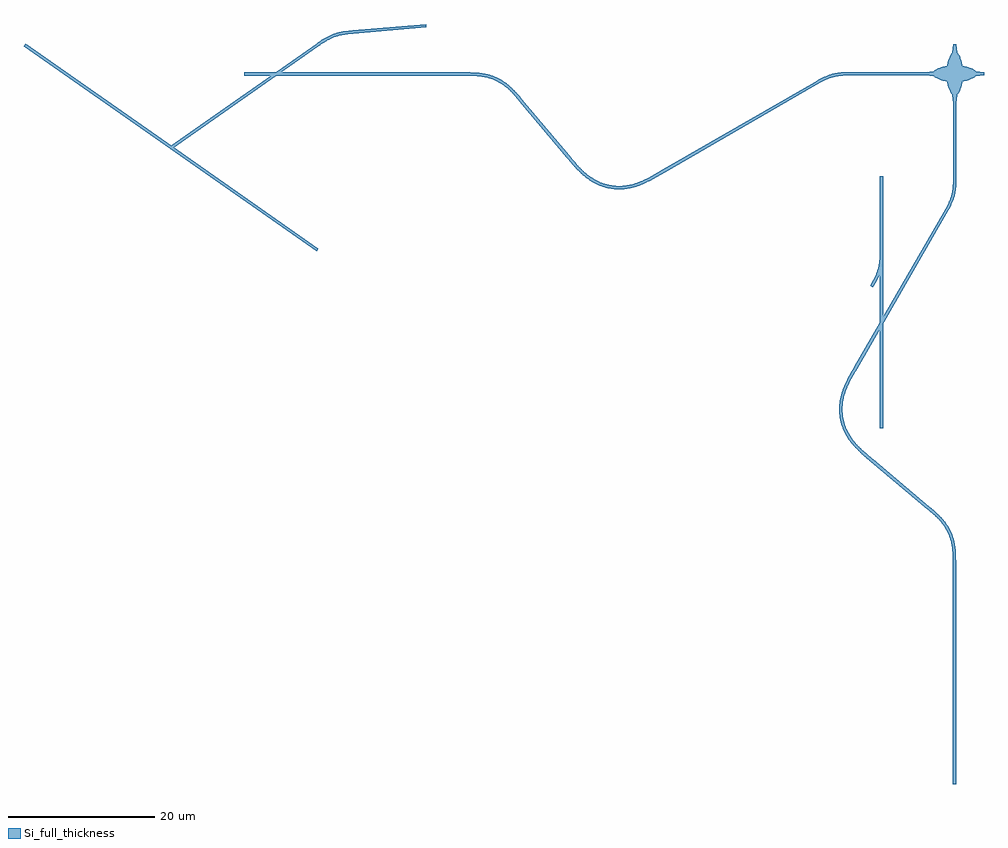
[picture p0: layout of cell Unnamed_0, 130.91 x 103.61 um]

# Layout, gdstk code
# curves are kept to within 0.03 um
from math import pi, radians
import gdstk
lib = gdstk.Library(unit=1e-6, precision=1e-09)
def R(c, l, rs):  # rectangles x0, y0, x1, y1
    for r in rs: c.add(gdstk.rectangle(r[:2], r[2:], *l))
def P(c, l, *ps):  # polygons
    for p in ps: c.add(gdstk.Polygon(p, *l))
Si_full_thickness = (1, 0)

straight_gdsfactorypcomp = lib.new_cell('straight_gdsfactorypcomponentspwaveguidespstraight_L30__da6968e1')
R(straight_gdsfactorypcomp, Si_full_thickness, [(0,-0.22,30,0.22)])

bend_euler_gdsfactorypco = lib.new_cell('bend_euler_gdsfactorypcomponentspbendspbend_euler_RNone_7c117f1f')
P(bend_euler_gdsfactorypco, Si_full_thickness, [(7.492,-3.714),(6.619,-2.704),(5.872,-1.962),(5.239,-1.46),(4.506,-1.015),(3.585,-0.622),(2.512,-0.355),(1.599,-0.254),(0,-0.22),(0,0.22),(1.627,0.185),(2.72,0.055),(3.727,-0.205),(4.709,-0.625),(5.238,-0.93),(5.847,-1.366),(6.466,-1.915),(7.035,-2.507),(7.829,-3.431)])

c_straight_gdsfactorypcomp = lib.new_cell('straight_gdsfactorypcomponentspwaveguidespstraight_L10__8a61a252')
R(c_straight_gdsfactorypcomp, Si_full_thickness, [(0,-0.22,10,0.22)])

c_bend_euler_gdsfactorypco = lib.new_cell('bend_euler_gdsfactorypcomponentspbendspbend_euler_RNone_93cb2d7f')
P(c_bend_euler_gdsfactorypco, Si_full_thickness, [(0,-0.22),(0,0.22),(1.48,0.236),(2.545,0.302),(3.593,0.454),(4.484,0.683),(5.119,0.922),(5.739,1.231),(6.763,1.94),(7.639,2.826),(8.051,3.383),(8.397,3.966),(8.777,4.804),(9.109,5.81),(9.359,6.847),(9.631,8.302),(10.065,8.225),(9.569,5.824),(9.284,4.904),(8.971,4.134),(8.576,3.389),(8.162,2.778),(7.688,2.213),(7.046,1.603),(6.334,1.077),(5.695,0.708),(5.021,0.407),(4.219,0.147),(3.271,-0.05),(2.314,-0.16)])

c_straight_gdsfactorypcomp_ = lib.new_cell('straight_gdsfactorypcomponentspwaveguidespstraight_L24p_38fe64c6')
R(c_straight_gdsfactorypcomp_, Si_full_thickness, [(0,-0.22,24.35,0.22)])

c_bend_euler_gdsfactorypco_ = lib.new_cell('bend_euler_gdsfactorypcomponentspbendspbend_euler_RNone_7088e960')
P(c_bend_euler_gdsfactorypco_, Si_full_thickness, [(4.89,-1.53),(3.62,-0.847),(2.556,-0.46),(1.442,-0.263),(0,-0.22),(0,0.22),(1.034,0.205),(1.781,0.142),(2.524,0.002),(3.246,-0.217),(4.074,-0.578),(5.11,-1.149)])

crossing_etched_gdsfacto = lib.new_cell('crossing_etched_gdsfactorypcomponentspwaveguidespcrossi_fd9be5fc')
P(crossing_etched_gdsfacto, Si_full_thickness, [(-0.22,-4),(-0.349,-2.842),(-0.569,-2.567),(-0.775,-2.129),(-0.929,-1.608),(-1.033,-1.033),(-1.608,-0.929),(-2.129,-0.775),(-2.567,-0.569),(-2.842,-0.349),(-4,-0.22),(-4,0.22),(-2.842,0.349),(-2.567,0.569),(-2.129,0.775),(-1.608,0.929),(-1.033,1.033),(-0.929,1.608),(-0.775,2.129),(-0.569,2.567),(-0.349,2.842),(-0.22,4),(0.22,4),(0.349,2.842),(0.569,2.567),(0.775,2.129),(0.929,1.608),(1.033,1.033),(1.608,0.929),(2.129,0.775),(2.567,0.569),(2.842,0.349),(4,0.22),(4,-0.22),(2.842,-0.349),(2.567,-0.569),(2.129,-0.775),(1.608,-0.929),(1.033,-1.033),(0.929,-1.608),(0.775,-2.129),(0.569,-2.567),(0.349,-2.842),(0.22,-4)])

shuttle = lib.new_cell('shuttle')
shuttle.add(gdstk.Reference(c_straight_gdsfactorypcomp_, (0,0), rotation=radians(35)))
shuttle.add(gdstk.Reference(c_bend_euler_gdsfactorypco_, (19.946,13.967), rotation=radians(35)))
shuttle.add(gdstk.Reference(c_straight_gdsfactorypcomp, (24.81,15.737), rotation=radians(5)))
shuttle.add(gdstk.Reference(c_straight_gdsfactorypcomp, (96.837,-3.949), rotation=3*pi/2))
shuttle.add(gdstk.Reference(c_bend_euler_gdsfactorypco_, (96.837,-13.949), rotation=3*pi/2))
shuttle.add(gdstk.Reference(c_straight_gdsfactorypcomp_, (0,0), rotation=radians(325)))
shuttle.add(gdstk.Reference(c_straight_gdsfactorypcomp_, (-19.946,13.967), rotation=radians(325)))
shuttle.add(gdstk.Reference(c_straight_gdsfactorypcomp_, (96.837,-38.299), rotation=pi/2))

unnamed_0 = lib.new_cell('Unnamed_0')
unnamed_0.add(gdstk.Reference(straight_gdsfactorypcomp, (0,0)))
unnamed_0.add(gdstk.Reference(bend_euler_gdsfactorypco, (30,0)))
unnamed_0.add(gdstk.Reference(c_straight_gdsfactorypcomp, (37.66,-3.572), rotation=radians(310)))
unnamed_0.add(gdstk.Reference(c_bend_euler_gdsfactorypco, (44.088,-11.232), rotation=radians(310)))
unnamed_0.add(gdstk.Reference(c_straight_gdsfactorypcomp_, (56.749,-13.464), rotation=radians(30)))
unnamed_0.add(gdstk.Reference(c_bend_euler_gdsfactorypco_, (77.837,-1.289), rotation=radians(30)))
unnamed_0.add(gdstk.Reference(c_straight_gdsfactorypcomp, (82.837,0.051)))
unnamed_0.add(gdstk.Reference(crossing_etched_gdsfacto, (96.837,0.051)))
unnamed_0.add(gdstk.Reference(c_straight_gdsfactorypcomp, (96.837,-3.949), rotation=3*pi/2))
unnamed_0.add(gdstk.Reference(c_bend_euler_gdsfactorypco_, (96.837,-13.949), rotation=3*pi/2))
unnamed_0.add(gdstk.Reference(c_straight_gdsfactorypcomp_, (95.497,-18.949), rotation=radians(240)))
unnamed_0.add(gdstk.Reference(c_bend_euler_gdsfactorypco, (83.322,-40.037), rotation=radians(240)))
unnamed_0.add(gdstk.Reference(c_straight_gdsfactorypcomp, (85.555,-52.698), rotation=radians(320)))
unnamed_0.add(gdstk.Reference(bend_euler_gdsfactorypco, (93.215,-59.126), rotation=radians(320)))
unnamed_0.add(gdstk.Reference(straight_gdsfactorypcomp, (96.787,-66.786), rotation=3*pi/2))
unnamed_0.add(gdstk.Reference(shuttle, (-10,-10)))

lib.write_gds('Unnamed_0.gds')
